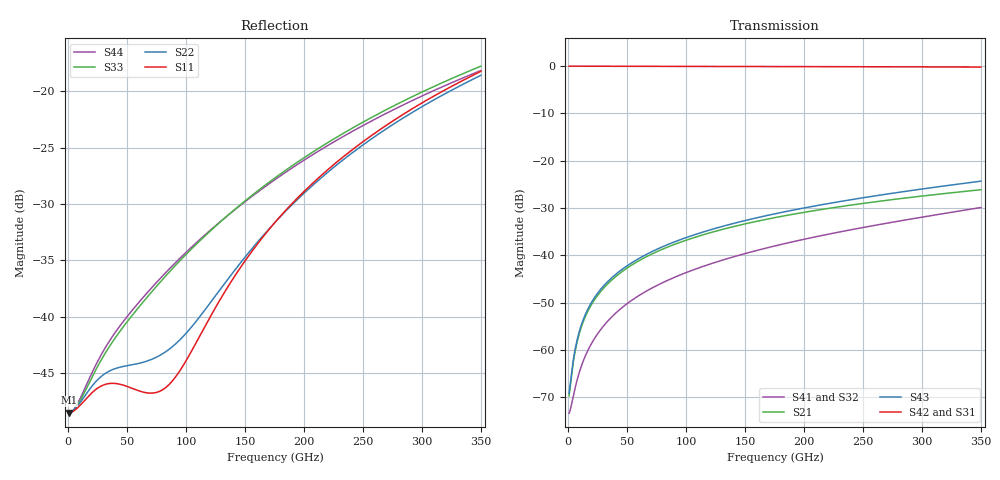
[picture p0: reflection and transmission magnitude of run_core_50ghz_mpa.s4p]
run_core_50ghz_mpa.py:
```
import os
import sys
sys.path.insert(0, os.path.abspath(os.path.join(os.path.dirname(__file__), 'modules')))

import modules.util_stackup_reader as stackup_reader
import util_gds_reader as gds_reader
import util_utilities as utilities
import util_simulation_setup as simulation_setup
import util_meshlines

import os
from pylab import *
from CSXCAD import ContinuousStructure
from CSXCAD import AppCSXCAD_BIN
from openEMS import openEMS
from openEMS.physical_constants import *

# Model comments


# ======================== workflow settings ================================

# preview model/mesh only?
# postprocess existing data without re-running simulation?
preview_only = False   
postprocess_only = False

# ===================== input files and path settings =======================

# GDS filename
gds_filename = "../klayout/openems_gds/50_ghz_mpa_core_no_BJT.gds"      # geometries
XML_filename = "SG13G2.xml"       # stackup

# preprocess GDSII for safe handling of cutouts/holes?
preprocess_gds = False

# merge polygons with distance less than xxx um, or set to 0 to disable via array merging
merge_polygon_size = 0.5

# get path for this simulation file
script_path = utilities.get_script_path(__file__)

# use script filename as model basename
model_basename = utilities.get_basename(__file__)

# set and create directory for simulation output
sim_path = utilities.create_sim_path (script_path,model_basename)
print('Simulation data directory: ', sim_path)


# ======================== simulation settings ================================

unit   = 1e-6   # geometry is in microns
margin = 100    # distance in microns from GDSII geometry boundary to simulation boundary 

fstart = 0
fstop  = 350e9
numfreq = 401

refined_cellsize = 0.3  # mesh cell size in conductor region

# choices for boundary xmin,xmax,ymin,ymax,zmin,zmax: 
# 'PEC' : perfect electric conductor (default)
# 'PMC' : perfect magnetic conductor, useful for symmetries
# 'MUR' : simple MUR absorbing boundary conditions
# 'PML_8' : PML absorbing boundary conditions
Boundaries = ['PML_4', 'PML_4', 'PML_4', 'PML_4', 'PEC', 'PML_4']

cells_per_wavelength = 20   # how many mesh cells per wavelength, must be 10 or more
energy_limit = -50          # end criteria for residual energy (dB)

# ports from GDSII Data, polygon geometry from specified special layer
# note that for multiport simulation, excitations are switched on/off in simulation_setup.createSimulation below
simulation_ports = simulation_setup.all_simulation_ports()
# instead of in-plane port specified with target_layername, we here use via port specified with from_layername and to_layername. GND means bottom of simulation box
simulation_ports.add_port(simulation_setup.simulation_port(portnumber=1, voltage=1, port_Z0=50, source_layernum=201, from_layername='Metal3', to_layername='TopMetal2', direction='z'))
simulation_ports.add_port(simulation_setup.simulation_port(portnumber=2, voltage=1, port_Z0=50, source_layernum=202, from_layername='Metal3', to_layername='TopMetal2', direction='z'))
simulation_ports.add_port(simulation_setup.simulation_port(portnumber=3, voltage=1, port_Z0=50, source_layernum=203, target_layername='Metal2', direction='-x'))
simulation_ports.add_port(simulation_setup.simulation_port(portnumber=4, voltage=1, port_Z0=50, source_layernum=204, target_layername='Metal2', direction='x'))

# ======================== simulation ================================

# get technology stackup data
materials_list, dielectrics_list, metals_list = stackup_reader.read_substrate (XML_filename)
# get list of layers from technology
layernumbers = metals_list.getlayernumbers()
layernumbers.extend(simulation_ports.portlayers)

# read geometries from GDSII, only purpose 0
allpolygons = gds_reader.read_gds(gds_filename, layernumbers, purposelist=[0], metals_list=metals_list, preprocess=preprocess_gds, merge_polygon_size=merge_polygon_size)


# calculate maximum cellsize from wavelength in dielectric
wavelength_air = 3e8/fstop
max_cellsize = (wavelength_air/unit)/(sqrt(materials_list.eps_max)*cells_per_wavelength) 


########### create model, run and post-process ###########


# Create simulation for port 1 .. 4 excitation, return value is data path for that excitation

excite_ports_list = [[1],[2],[3],[4]]  # list of ports that are excited in the different excitation runs
for excite_ports in excite_ports_list:
    # define excitation and stop criteria and boundaries
    FDTD = openEMS(EndCriteria=exp(energy_limit/10 * log(10)))
    FDTD.SetGaussExcite( (fstart+fstop)/2, (fstop-fstart)/2 )
    FDTD.SetBoundaryCond( Boundaries )
    FDTD = simulation_setup.setupSimulation (excite_ports, simulation_ports, FDTD, materials_list, dielectrics_list, metals_list, allpolygons, max_cellsize, refined_cellsize, margin, unit, xy_mesh_function=util_meshlines.create_xy_mesh_from_polygons)
    simulation_setup.runSimulation (excite_ports, FDTD, sim_path, model_basename, preview_only, postprocess_only)


if preview_only==False:

    print('Begin data evaluation')

    # define dB function for S-parameters
    def dB(value):
        return 20.0*np.log10(np.abs(value))        

    # define phase function for S-parameters
    def phase(value):
        return angle(value, deg=True) 

    f = np.linspace(fstart,fstop,numfreq)

    # get results, CSX port definition is read from simulation ports object
    # all S-parameter data is available because we have simulated all port excitations
    s11 = utilities.calculate_Sij (1, 1, f, sim_path, simulation_ports)
    s21 = utilities.calculate_Sij (2, 1, f, sim_path, simulation_ports)
    s31 = utilities.calculate_Sij (3, 1, f, sim_path, simulation_ports)
    s41 = utilities.calculate_Sij (4, 1, f, sim_path, simulation_ports)
    s12 = utilities.calculate_Sij (1, 2, f, sim_path, simulation_ports)
    s22 = utilities.calculate_Sij (2, 2, f, sim_path, simulation_ports)
    s32 = utilities.calculate_Sij (3, 2, f, sim_path, simulation_ports)
    s42 = utilities.calculate_Sij (4, 2, f, sim_path, simulation_ports)
    s13 = utilities.calculate_Sij (1, 3, f, sim_path, simulation_ports)
    s23 = utilities.calculate_Sij (2, 3, f, sim_path, simulation_ports)
    s33 = utilities.calculate_Sij (3, 3, f, sim_path, simulation_ports)
    s43 = utilities.calculate_Sij (4, 3, f, sim_path, simulation_ports)
    s14 = utilities.calculate_Sij (1, 4, f, sim_path, simulation_ports)
    s24 = utilities.calculate_Sij (2, 4, f, sim_path, simulation_ports)
    s34 = utilities.calculate_Sij (3, 4, f, sim_path, simulation_ports)
    s44 = utilities.calculate_Sij (4, 4, f, sim_path, simulation_ports)

    s4p_name = os.path.join(sim_path, model_basename + '.s4p')
    utilities.write_snp (np.array([[s11,s21,s31,s41], [s12,s22,s32,s42], [s13,s23,s33,s43], [s14,s24,s34,s44]]),f, s4p_name)

    print('\nStarting plots')

    figure()
    plot(f/1e9, dB(s21), 'k-',  linewidth=2, label='S11 [dB]')
    grid()
    legend()
    xlabel('Frequency (GHz)')

    figure()
    plot(f/1e9, phase(s21), 'k-',  linewidth=2, label='S11 phase [degree]')
    grid()
    legend()
    xlabel('Frequency (GHz)')


    # Show all plots
    show()
```
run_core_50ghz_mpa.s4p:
#  Hz  S  RI  R  50
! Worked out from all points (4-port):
!   400 points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, 875 MHz to 350 GHz, reference 50 ohm
!   strongest paths, dB at 875 MHz, 88.38 GHz, 175.9 GHz, 263.4 GHz, 350 GHz:
!     S42: 0.0, -0.1, -0.1, -0.2, -0.2
!     S31: 0.0, -0.1, -0.1, -0.2, -0.2
!     S43: -69.1, -37.3, -31.2, -27.3, -24.3
!     S21: -69.6, -37.9, -32.0, -28.6, -26.1
!     S41: -73.4, -44.8, -38.0, -33.5, -29.9
!     S32: -73.3, -45.0, -38.1, -33.6, -30.0
!   lowest |S11| = -48.5 dB at 875 MHz (marker M1), VSWR 1.01, Z = 50.4 + j0.0106 ohm
!   |S11| at or under -10 dB: start of sweep to end of sweep
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8.75e8  0.00375 0.000105  0.000301 0.000133  0.9957 -0.00204  -0.000204 5.42e-05
        0.000301 0.000133  0.00376 0.000128  -0.000203 5.48e-05  0.9956 -0.00205
        0.9957 -0.00206  -0.00021 4.86e-05  0.00373 0.000102  0.000321 0.000141
        -0.000209 4.94e-05  0.9957 -0.00206  0.000321 0.000142  0.00373 0.000127
6.825e10  0.00203 0.00411  0.00342 0.00933  0.9803 -0.1521  0.000245 0.0046
          0.00342 0.00933  0.00257 0.00585  0.000247 0.00465  0.9801 -0.1525
          0.9802 -0.153  0.000142 0.00426  0.0122 0.00227  0.000809 0.0105
          0.000165 0.00432  0.9801 -0.1531  0.0008 0.0105  0.0123 0.00422
3.5e11  -0.076 0.0961  0.0494 -0.00053  0.6868 -0.6879  0.0268 0.0197
        0.0494 -0.000507  -0.0668 0.0969  0.0268 0.02  0.6857 -0.6889
        0.6825 -0.6929  0.0255 0.0188  0.0953 -0.0872  0.00982 0.0597
        0.0259 0.0188  0.6833 -0.6935  0.00967 0.06  0.0964 -0.0774
